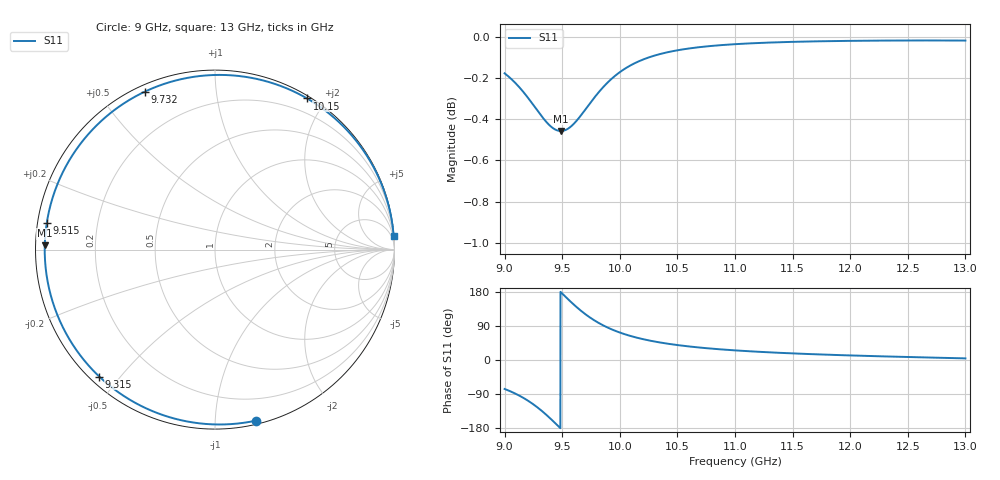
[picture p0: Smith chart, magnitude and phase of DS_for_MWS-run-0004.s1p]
! TOUCHSTONE file generated by CST DESIGN STUDIO
! Date and time: Wed Feb  5 13:18:14 2025
! Project name: C:\Work\MatlabApps\UnitCellOptimizationMatlab\CST\unitcell.cst
! Tree item: Tasks\Sweep1\SPara1\S-Parameters
! Header version: 2024
! Port assignment regex: !\s*Touchstone port\s*([0-9]+)\s*=\s*(CST MWS port|CST DES external port|CST DES block port)\s*(.+)\s* \(\"(.*)\"\)(\s*mode\s*([0-9]+))?.*
! Touchstone port assignment:
! Touchstone port 1 = CST DES external port 1 ("")
# GHz S MA R 50
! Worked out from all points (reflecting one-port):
!   4001 points, 9 GHz to 13 GHz, reference 50 ohm
!   lowest |S11| = -0.5 dB at 9.489 GHz (marker M1), VSWR 38.04, Z = 1.31 + j0.606 ohm
!   phase of S11 starts at -76 deg and turns -279 deg over the sweep
!   S11 on the Smith chart (normalised r, x): 9 GHz: 0.03, -1.27; 9.315 GHz: 0.03, -0.44; 9.515 GHz: 0.03, +0.08; 9.732 GHz: 0.03, +0.65; 10.15 GHz: 0.03, +1.78; 13 GHz: 1, +27
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9  0.9799 -76.4
9.081  0.9754 -86.9
9.18  0.9684 -103.1
9.25  0.9626 -117.1
9.315  0.9572 -132.4
9.361  0.9537 -144.4
9.41  0.9507 -158.1
9.45  0.9493 -169.8
9.489  0.9488 178.6
9.5  0.9488 175.3
9.515  0.949 170.9
9.568  0.9508 155.4
9.628  0.9545 138.9
9.679  0.9584 126.0
9.732  0.9628 114.1
9.786  0.9672 103.3
9.846  0.9717 92.9
9.922  0.9765 81.8
10  0.9805 72.5
10.151  0.9861 58.7
10.309  0.9898 48.4
10.5  0.9926 39.4
10.722  0.9946 32.0
11  0.996 25.4
11.5  0.9973 17.4
12  0.9979 12.0
12.5  0.9981 7.9
13  0.998 4.3
